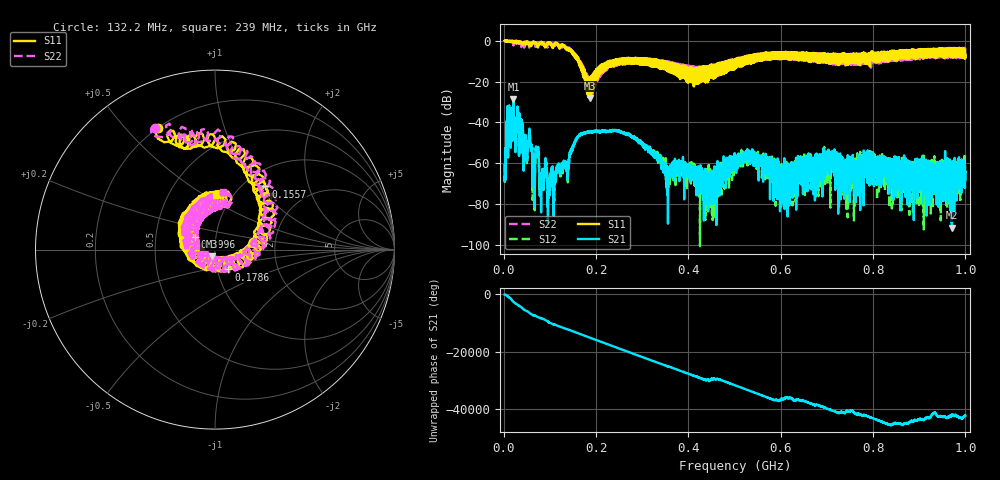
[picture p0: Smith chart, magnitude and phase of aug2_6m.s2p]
!Keysight Technologies N9923A: A.12.45
!Date: Saturday, 02 August 2025 18:39:32
!Timezone: (UTC+08:00) Kuala Lumpur, Singapore
!Model: N9923A
!Serial: MY61181427
!GPS Latitude:
!GPS Longitude:
!GPS TimeStamp: 0001-01-01 00:00:00Z
!GPS Seconds Since Last Read: 0
!CHECKSUM:0890794360
!Correction: S11(ON U)S21(ON U)S12(ON U)S22(ON U)
!S2P File: Measurements:S11,S21,S12,S22:
# Hz S DB R 50
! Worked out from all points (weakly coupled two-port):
!   4001 points, 2 MHz to 1 GHz, reference 50 ohm
!   highest |S21| = -28.68 dB at 21.21 MHz (marker M1); lowest = -91.5 dB at 970.8 MHz (marker M2)
!   lowest |S11| = -28.0 dB at 186.1 MHz (marker M3), VSWR 1.08, Z = 48.2 - j3.48 ohm
!   |S11| at or under -10 dB: 164.2 MHz to 228.5 MHz (64.36 MHz wide, 32.8 % of centre); 339.4 MHz to 346 MHz (6.609 MHz wide, 1.93 % of centre); 346.1 MHz to 484.7 MHz (138.6 MHz wide, 33.4 % of centre) (the widest 3 of 197)
!   |S22| runs from -28.8 to 0.1 dB; largest |S21 - S12| = 0.0026
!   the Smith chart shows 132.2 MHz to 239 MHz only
!   S11 on the Smith chart (normalised r, x): 132.2 MHz: 0.20, +0.62; 155.7 MHz: 1.24, +1.10; 178.6 MHz: 1.13, -0.25; 199.6 MHz: 0.79, +0.11; 239 MHz: 0.84, +0.56
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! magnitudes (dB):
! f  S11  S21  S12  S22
! 2 MHz  -0.1  -60.9  -60.2  -0.1
! 10.23 MHz  0.0  -37.3  -37.1  -0.3
! 21.21 MHz  -1.1  -28.7  -28.7  -2.4
! 57.14 MHz  -1.2  -47.6  -47.8  -0.6
! 63.88 MHz  -0.5  -58.5  -58.8  -0.6
! 72.86 MHz  -3.0  -54.3  -54.4  -1.8
! 82.34 MHz  -0.7  -70.5  -70.4  -1.7
! 132.2 MHz  -2.5  -61.4  -62.5  -2.5
! 155.7 MHz  -6.9  -49.1  -48.8  -6.6
! 168.4 MHz  -13.9  -45.7  -45.6  -13.8
! 178.6 MHz  -17.5  -44.9  -44.7  -17.9
! 186.1 MHz  -28.0  -44.6  -44.7  -22.6
! 199.6 MHz  -17.6  -44.5  -44.6  -21.3
! 239 MHz  -10.4  -43.7  -43.9  -9.8
! 334.8 MHz  -11.9  -57.0  -56.5  -9.9
! 450.1 MHz  -13.9  -68.5  -72.7  -12.1
! 501 MHz  -11.8  -58.6  -61.2  -12.1
! 601.8 MHz  -6.8  -71.9  -68.3  -8.5
! 667.4 MHz  -7.0  -69.9  -64.0  -9.5
! 833.8 MHz  -6.8  -66.7  -61.4  -7.5
! 970.8 MHz  -6.1  -91.5  -61.3  -6.4
! 1 GHz  -7.0  -68.0  -67.5  -3.5
